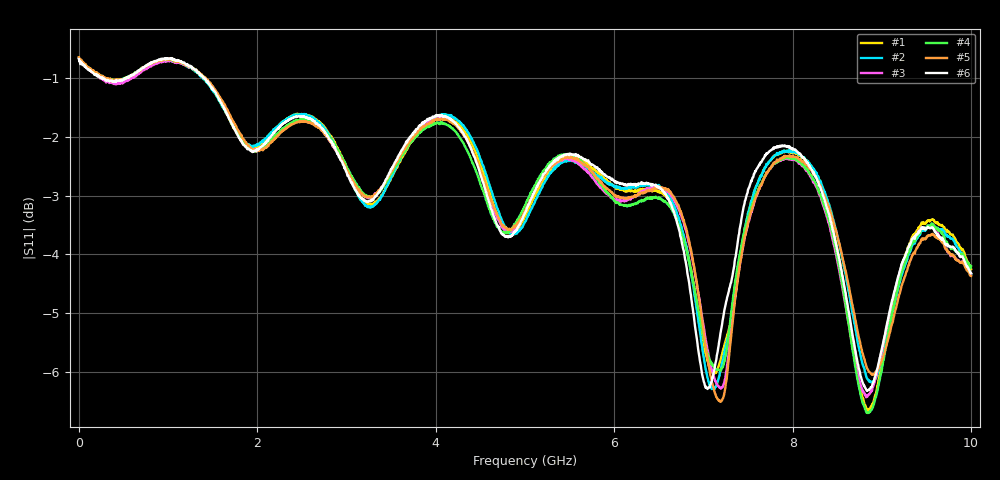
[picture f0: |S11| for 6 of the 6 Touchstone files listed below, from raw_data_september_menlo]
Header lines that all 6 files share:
!Keysight Technologies,M9375A,MY54321142,A.14.10.03
!Correction: S11(C  2-Port  )
!S1P File: Measurement: :
# Hz S  dB  R 50
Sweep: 1 MHz to 10 GHz
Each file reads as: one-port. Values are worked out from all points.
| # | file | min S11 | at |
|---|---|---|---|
| 1 | rf1.s1p | -6.7 dB | 8.845 GHz |
| 2 | rf2.s1p | -6.3 dB | 7.125 GHz |
| 3 | rf3.s1p | -6.4 dB | 8.825 GHz |
| 4 | rf4.s1p | -6.7 dB | 8.84 GHz |
| 5 | rf5.s1p | -6.5 dB | 7.195 GHz |
| 6 | rf6.s1p | -6.3 dB | 8.83 GHz |
